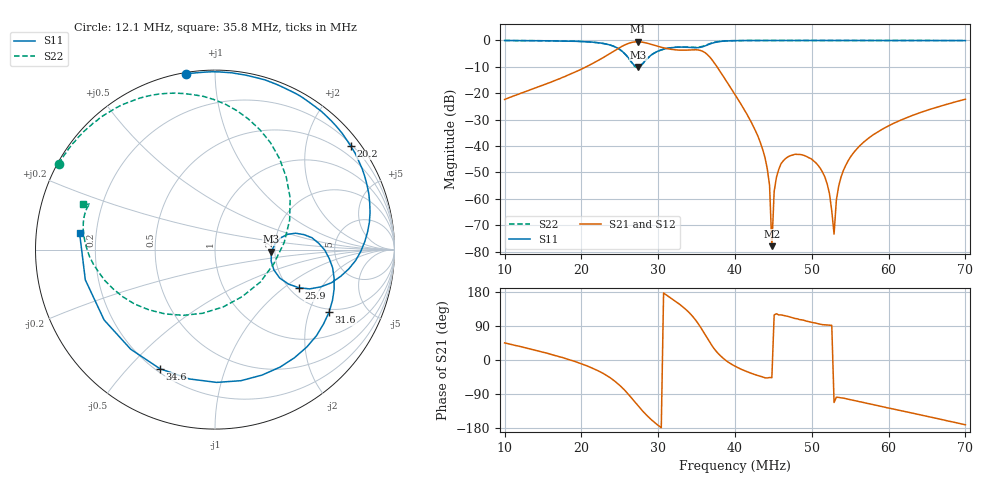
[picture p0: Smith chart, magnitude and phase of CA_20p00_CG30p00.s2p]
#  HZ  S  RI  R  50.00
! Rohde & Schwarz ZVT8 8Ports - Version 4.11 - 1300.0000k08 SN: 100242
! Date: 2026-07-31 14:26:46
! Measurements: S11 S21 S12 S22
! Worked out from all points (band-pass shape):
!   201 points, 10 MHz to 70 MHz, reference 50 ohm
!   highest |S21| = -0.50 dB at 27.4 MHz (marker M1); lowest = -77.9 dB at 44.8 MHz (marker M2)
!   |S21| within 3 dB of the highest: 24.53 MHz to 32.05 MHz (7.52 MHz wide, 26.6 % of centre)
!   lowest |S11| = -10.1 dB at 27.4 MHz (marker M3), VSWR 1.92, Z = 95.7 - j2.62 ohm
!   |S11| at or under -10 dB: 27.28 MHz to 27.43 MHz (146.4 kHz wide, 0.535 % of centre)
!   |S22| runs from -10.4 to 0.0 dB; largest |S21 - S12| = 0.0038
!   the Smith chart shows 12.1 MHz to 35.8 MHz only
!   S11 on the Smith chart (normalised r, x): 12.1 MHz: 0.01, +0.85; 20.2 MHz: 0.24, +2.94; 25.9 MHz: 2.24, -1.29; 31.6 MHz: 1.86, -2.74; 34.6 MHz: 0.22, -0.62; 35.8 MHz: 0.14, +0.06
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1e7  -0.403 0.9112  0.0538 0.0541  0.0536 0.054  -0.9165 0.391
1.21e7  -0.1612 0.9786  0.0815 0.0577  0.0813 0.0575  -0.8716 0.477
2.02e7  0.7564 0.5764  0.2895 -0.0587  0.2888 -0.0583  -0.4812 0.8209
2.59e7  0.467 -0.2124  0.0663 -0.849  0.0659 -0.8504  0.4187 0.2882
2.74e7  0.3139 -0.0123  -0.4904 -0.8061  -0.4899 -0.8068  0.1515 -0.2619
3.01e7  0.6364 -0.0495  -0.7611 -0.0773  -0.7594 -0.0787  -0.614 -0.1721
3.16e7  0.6353 -0.3491  -0.6557 0.1871  -0.6562 0.1876  -0.724 0.0421
3.46e7  -0.3069 -0.6635  -0.2529 0.6155  -0.2526 0.6147  -0.6969 0.2552
3.58e7  -0.7549 0.094  0.1385 0.606  0.1375 0.6062  -0.7345 0.2531
3.73e7  0.1276 0.9016  0.3281 0.1847  0.3276 0.1858  -0.8411 0.3752
4e7  0.9855 0.0898  0.0904 -0.0265  0.0904 -0.0265  -0.7723 0.6254
4.39e7  0.7268 -0.6839  0.00416 -0.00446  0.00416 -0.00435  -0.6067 0.7917
4.45e7  0.6553 -0.7511  0.00126 -0.00131  0.00124 -0.00138  -0.5833 0.8096
4.48e7  0.6192 -0.7814  8.74e-05 -9.25e-05  5.56e-05 7.27e-05  -0.5713 0.8176
4.51e7  0.5835 -0.8093  -0.000669 0.00121  -0.000795 0.00112  -0.5599 0.8265
4.6e7  0.4699 -0.8793  -0.00226 0.00408  -0.00223 0.00395  -0.5241 0.849
5.02e7  -0.0781 -0.995  -0.000782 0.00525  -0.000815 0.00524  -0.3611 0.9298
5.2e7  -0.2989 -0.9533  -7.47e-05 0.00192  -4.67e-05 0.00195  -0.2907 0.9524
5.29e7  -0.4024 -0.9128  -8.1e-05 -0.000199  -5.74e-05 -0.000188  -0.2567 0.9629
5.44e7  -0.5596 -0.8258  -0.000881 -0.00416  -0.000926 -0.00417  -0.1991 0.9767
6.01e7  -0.949 -0.3022  -0.0148 -0.0196  -0.0148 -0.0196  0.0238 0.9966
7e7  -0.6692 0.7342  -0.0761 -0.012  -0.0759 -0.0119  0.4065 0.9074
